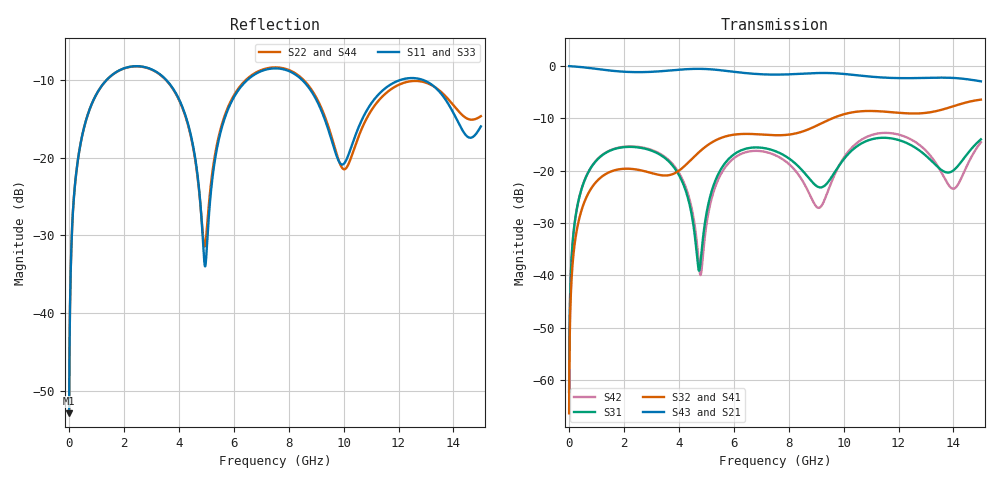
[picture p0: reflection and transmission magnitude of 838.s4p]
! Created with skrf 1.8.0 (http://scikit-rf.org).
# GHz S RI R 50.0
!freq ReS11 ImS11 ReS12 ImS12 ReS13 ImS13
! ReS14 ImS14
! ReS21 ImS21 ReS22 ImS22 ReS23 ImS23
! ReS24 ImS24
! ReS31 ImS31 ReS32 ImS32 ReS33 ImS33
! ReS34 ImS34
! ReS41 ImS41 ReS42 ImS42 ReS43 ImS43
! ReS44 ImS44
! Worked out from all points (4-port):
!   2499 points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, 5 MHz to 15 GHz, reference 50 ohm
!   strongest paths, dB at 5 MHz, 3.476 GHz, 7.19 GHz, 11.1 GHz, 15 GHz:
!     S43: 0.0, -0.9, -1.6, -2.1, -2.9
!     S21: 0.0, -0.9, -1.6, -2.1, -2.9
!     S32: -66.4, -20.9, -13.1, -8.6, -6.4
!     S41: -66.4, -20.9, -13.1, -8.6, -6.4
!     S31: -62.3, -17.5, -15.8, -13.9, -14.0
!     S42: -62.3, -17.3, -16.4, -13.0, -14.6
!   lowest |S11| = -52.9 dB at 5 MHz (marker M1), VSWR 1.00, Z = 50.2 + j0.137 ohm
!   |S11| at or under -10 dB: 3.54 GHz to 6.496 GHz (2.956 GHz wide, 58.9 % of centre); 8.49 GHz to 12.07 GHz (3.581 GHz wide, 34.8 % of centre); 12.89 GHz to end of sweep (the widest 3 of 4)
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0.005  0.00181 0.00136  0.9982 -0.00352  9.3e-05 0.000766  -9e-05 -0.000473
       0.9982 -0.00352  0.00181 0.00136  -9e-05 -0.000473  9.3e-05 0.000766
       9.3e-05 0.000766  -9e-05 -0.000473  0.00181 0.00136  0.9982 -0.00352
       -9e-05 -0.000473  9.3e-05 0.000766  0.9982 -0.00352  0.00181 0.00136
0.3126303  0.0284 0.0889  0.9611 -0.2178  0.0139 0.0449  -0.0115 -0.0272
           0.9611 -0.2178  0.0284 0.0889  -0.0115 -0.0272  0.0141 0.0449
           0.0139 0.0449  -0.0115 -0.0272  0.0284 0.0889  0.9611 -0.2178
           -0.0115 -0.0272  0.0141 0.0449  0.9611 -0.2178  0.0284 0.0889
1.419341  0.2716 0.174  0.544 -0.7308  0.1364 0.0679  -0.0954 -0.00501
          0.544 -0.7308  0.2706 0.1747  -0.0954 -0.00494  0.139 0.0643
          0.1364 0.0679  -0.0954 -0.00494  0.2716 0.1741  0.544 -0.7308
          -0.0954 -0.00501  0.139 0.0643  0.544 -0.7308  0.2707 0.1747
4.952063  0.0199 -0.00158  -0.9352 -0.0764  0.0178 0.0266  -0.0095 0.1679
          -0.9352 -0.0764  0.0269 0.00303  -0.00827 0.1679  -0.00454 0.0235
          0.0178 0.0266  -0.00827 0.1679  0.0213 -0.00335  -0.9352 -0.0767
          -0.0095 0.1679  -0.00454 0.0235  -0.9352 -0.0767  0.0258 0.00118
7.540642  0.3753 0.00557  -0.0744 0.8253  0.1229 -0.091  0.2155 -0.0343
          -0.0744 0.8253  0.3808 -0.00161  0.2154 -0.0363  0.1201 -0.0713
          0.1229 -0.091  0.2154 -0.0363  0.3738 0.00295  -0.0732 0.8259
          0.2155 -0.0343  0.1201 -0.0713  -0.0732 0.8259  0.3796 -0.000337
10.30429  0.1097 0.0497  0.8255 -0.0509  0.0285 0.154  -0.041 -0.358
          0.8255 -0.0509  0.0974 0.0357  -0.0449 -0.3582  0.0621 0.1546
          0.0285 0.154  -0.0449 -0.3582  0.1069 0.0511  0.8251 -0.0547
          -0.041 -0.358  0.0621 0.1546  0.8251 -0.0547  0.1011 0.0381
15  0.1542 0.038  -0.6996 -0.1502  -0.0508 0.1929  -0.0871 0.4723
    -0.6996 -0.1502  0.1848 -0.000812  -0.0767 0.4719  0.0178 0.1864
    -0.0508 0.1929  -0.0767 0.4719  0.1632 0.0394  -0.7012 -0.1407
    -0.0871 0.4723  0.0178 0.1864  -0.7012 -0.1407  0.1768 0.00208
